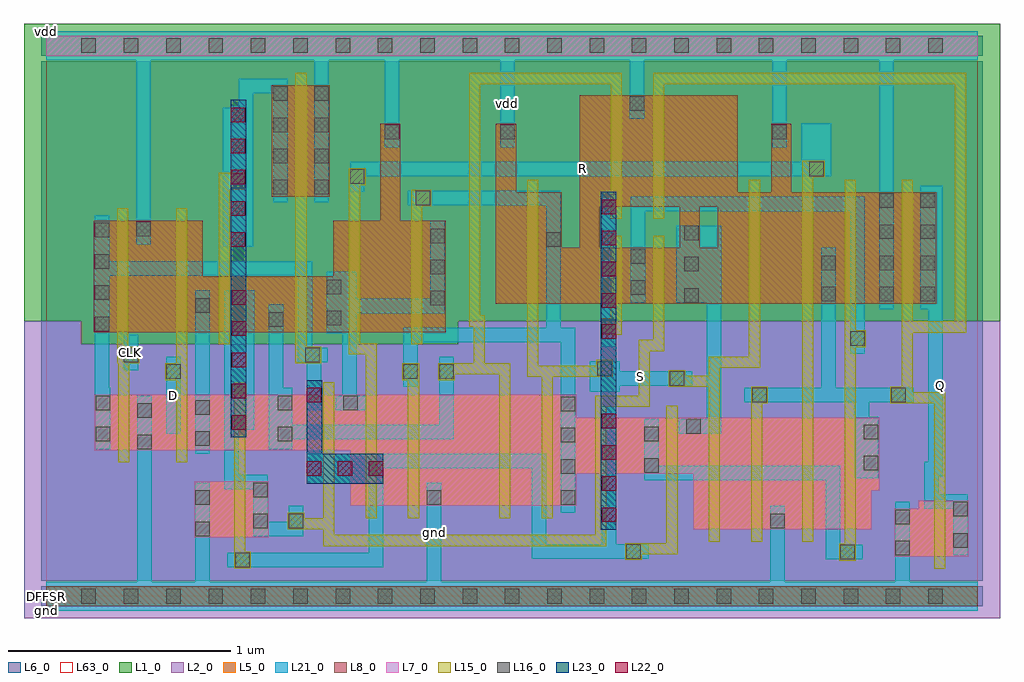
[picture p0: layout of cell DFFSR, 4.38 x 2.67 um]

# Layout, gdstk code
import gdstk
lib = gdstk.Library(unit=1e-6, precision=1e-09)
def R(c, l, rs):  # rectangles x0, y0, x1, y1
    for r in rs: c.add(gdstk.rectangle(r[:2], r[2:], *l))
def A(c, l, x, y, w, h, nx, ny, dx, dy):  # array of equal rectangles
    R(c, l, [(x+i*dx, y+j*dy, x+i*dx+w, y+j*dy+h) for i in range(nx) for j in range(ny)])
def P(c, l, *ps):  # polygons
    for p in ps: c.add(gdstk.Polygon(p, *l))
L1_0 = (1, 0)
L2_0 = (2, 0)
L5_0 = (5, 0)
L6_0 = (6, 0)
L7_0 = (7, 0)
L8_0 = (8, 0)
L15_0 = (15, 0)
L16_0 = (16, 0)
L21_0 = (21, 0)
L22_0 = (22, 0)
L23_0 = (23, 0)
L63_0 = (63, 0)

dffsr = lib.new_cell('DFFSR')
P(dffsr, L1_0, [(0.158,1.235),(-0.1,1.235),(-0.1,2.57),(4.28,2.57),(4.28,1.235),(1.848,1.235),(1.848,1.13),(0.158,1.13)])
P(dffsr, L2_0, [(-0.1,1.235),(0.158,1.235),(0.158,1.13),(1.848,1.13),(1.848,1.235),(4.28,1.235),(4.28,-0.1),(-0.1,-0.1)])
A(dffsr, L5_0, 0.323, 0.655, 0.05, 0.25, 3, 1, 0.26, 0)
R(dffsr, L5_0, [(0,-0.045,4.18,0.045), (3.985,0.178,4.035,0.428), (4.035,0.178,4.14,0.428), (0.663,0.265,0.843,0.515), (0.843,0.265,0.893,0.515), (0.893,0.265,0.998,0.515), (2.973,0.3,3.023,0.8), (3.023,0.3,3.163,0.8), (3.163,0.3,3.213,0.8), (3.213,0.3,3.393,0.8), (3.393,0.3,3.443,0.8), (3.443,0.3,3.583,0.8), (3.583,0.3,3.633,0.8), (1.433,0.405,1.483,0.905), (1.483,0.405,1.623,0.905), (1.623,0.405,1.673,0.905), (1.673,0.405,2.033,0.905), (2.033,0.405,2.083,0.905), (2.083,0.405,2.223,0.905), (2.223,0.405,2.273,0.905), (2.463,0.55,2.513,0.8), (2.513,0.55,2.783,0.8), (2.783,0.55,2.833,0.8), (0.218,0.655,0.323,0.905), (0.373,0.655,0.583,0.905), (0.633,0.655,0.843,0.905), (0.893,0.655,1.243,0.905), (1.243,0.655,1.293,0.905), (0.213,1.185,0.318,1.685), (0.318,1.185,0.368,1.685), (0.368,1.185,0.583,1.685), (0.583,1.185,0.633,1.685), (0.773,1.185,0.823,1.435), (0.823,1.185,1.118,1.435), (1.118,1.185,1.168,1.435), (1.358,1.185,1.408,1.685), (1.638,1.185,1.688,1.685), (1.688,1.185,1.793,1.685), (2.158,1.313,2.208,1.813), (2.533,1.313,2.583,1.563), (2.583,1.313,2.723,1.563), (2.723,1.313,2.773,1.563), (3.153,1.313,3.203,1.813), (3.393,1.313,3.443,1.813), (3.443,1.313,3.583,1.813), (3.583,1.313,3.633,1.813), (3.633,1.313,3.838,1.813), (3.838,1.313,3.888,1.813), (3.888,1.313,3.993,1.813), (2.533,1.748,2.583,2.248), (2.583,1.748,2.723,2.248), (2.723,1.748,2.773,2.248), (1.012,1.793,1.118,2.293), (1.118,1.793,1.168,2.293), (1.168,1.793,1.273,2.293), (0,2.425,4.18,2.515)])
P(dffsr, L5_0, [(1.433,0.905),(1.433,0.405),(1.363,0.405),(1.363,0.655),(1.293,0.655),(1.293,0.905)],
  [(2.378,0.8),(2.463,0.8),(2.463,0.55),(2.378,0.55),(2.378,0.405),(2.273,0.405),(2.273,0.905),(2.378,0.905)],
  [(2.973,0.8),(2.973,0.3),(2.903,0.3),(2.903,0.55),(2.833,0.55),(2.833,0.8)],
  [(3.738,0.8),(3.738,0.473),(3.703,0.473),(3.703,0.3),(3.633,0.3),(3.633,0.8)],
  [(3.805,0.178),(3.805,0.393),(3.915,0.393),(3.915,0.428),(3.985,0.428),(3.985,0.178)],
  [(0.703,1.685),(0.703,1.435),(0.773,1.435),(0.773,1.185),(0.633,1.185),(0.633,1.685)],
  [(1.288,1.435),(1.288,1.685),(1.358,1.685),(1.358,1.185),(1.168,1.185),(1.168,1.435)],
  [(1.408,1.185),(1.408,1.685),(1.498,1.685),(1.498,2.12),(1.588,2.12),(1.588,1.685),(1.638,1.685),(1.638,1.185)],
  [(2.313,1.563),(2.393,1.563),(2.393,2.248),(2.533,2.248),(2.533,1.748),(2.483,1.748),(2.483,1.563),(2.533,1.563),(2.533,1.313),(2.208,1.313),(2.208,1.813),(2.313,1.813)],
  [(2.108,2.12),(2.108,1.813),(2.158,1.813),(2.158,1.313),(2.018,1.313),(2.018,2.12)],
  [(3.013,1.313),(2.773,1.313),(2.773,1.563),(2.843,1.563),(2.843,1.748),(2.773,1.748),(2.773,2.248),(3.103,2.248),(3.103,1.813),(3.153,1.813),(3.153,1.313),(3.013,1.313),(3.013,1.748),(2.933,1.748),(2.933,1.563),(3.013,1.563)],
  [(3.203,1.313),(3.203,1.813),(3.253,1.813),(3.253,2.12),(3.343,2.12),(3.343,1.813),(3.393,1.813),(3.393,1.313)])
R(dffsr, L6_0, [(-0.023,-0.045,4.203,0.045), (-0.023,-0.045,4.203,0.045), (-0.023,2.425,4.203,2.515), (-0.023,2.425,4.203,2.515)])
P(dffsr, L6_0, [(0.158,1.235),(0.158,1.13),(1.848,1.13),(1.848,1.235),(4.203,1.235),(4.203,0.07),(-0.023,0.07),(-0.023,1.235)],
  [(-0.023,1.235),(-0.023,2.4),(4.203,2.4),(4.203,1.235),(1.848,1.235),(1.848,1.13),(0.158,1.13),(0.158,1.235)])
A(dffsr, L7_0, 0.323, 0.655, 0.05, 0.25, 3, 1, 0.26, 0)
R(dffsr, L7_0, [(3.985,0.178,4.035,0.428), (4.035,0.178,4.14,0.428), (0.663,0.265,0.843,0.515), (0.843,0.265,0.893,0.515), (0.893,0.265,0.998,0.515), (2.973,0.3,3.023,0.8), (3.023,0.3,3.163,0.8), (3.163,0.3,3.213,0.8), (3.213,0.3,3.393,0.8), (3.393,0.3,3.443,0.8), (3.443,0.3,3.583,0.8), (3.583,0.3,3.633,0.8), (1.433,0.405,1.483,0.905), (1.483,0.405,1.623,0.905), (1.623,0.405,1.673,0.905), (1.673,0.405,2.033,0.905), (2.033,0.405,2.083,0.905), (2.083,0.405,2.223,0.905), (2.223,0.405,2.273,0.905), (2.463,0.55,2.513,0.8), (2.513,0.55,2.783,0.8), (2.783,0.55,2.833,0.8), (0.218,0.655,0.323,0.905), (0.373,0.655,0.583,0.905), (0.633,0.655,0.843,0.905), (0.893,0.655,1.243,0.905), (1.243,0.655,1.293,0.905), (0,2.425,4.18,2.515)])
P(dffsr, L7_0, [(1.433,0.905),(1.433,0.405),(1.363,0.405),(1.363,0.655),(1.293,0.655),(1.293,0.905)],
  [(2.378,0.8),(2.463,0.8),(2.463,0.55),(2.378,0.55),(2.378,0.405),(2.273,0.405),(2.273,0.905),(2.378,0.905)],
  [(2.973,0.8),(2.973,0.3),(2.903,0.3),(2.903,0.55),(2.833,0.55),(2.833,0.8)],
  [(3.738,0.8),(3.738,0.473),(3.703,0.473),(3.703,0.3),(3.633,0.3),(3.633,0.8)],
  [(3.805,0.178),(3.805,0.393),(3.915,0.393),(3.915,0.428),(3.985,0.428),(3.985,0.178)])
R(dffsr, L8_0, [(0,-0.045,4.18,0.045), (0.213,1.185,0.318,1.685), (0.318,1.185,0.368,1.685), (0.368,1.185,0.583,1.685), (0.583,1.185,0.633,1.685), (0.773,1.185,0.823,1.435), (0.823,1.185,1.118,1.435), (1.118,1.185,1.168,1.435), (1.358,1.185,1.408,1.685), (1.638,1.185,1.688,1.685), (1.688,1.185,1.793,1.685), (2.158,1.313,2.208,1.813), (2.533,1.313,2.583,1.563), (2.583,1.313,2.723,1.563), (2.723,1.313,2.773,1.563), (3.153,1.313,3.203,1.813), (3.393,1.313,3.443,1.813), (3.443,1.313,3.583,1.813), (3.583,1.313,3.633,1.813), (3.633,1.313,3.838,1.813), (3.838,1.313,3.888,1.813), (3.888,1.313,3.993,1.813), (2.533,1.748,2.583,2.248), (2.583,1.748,2.723,2.248), (2.723,1.748,2.773,2.248), (1.012,1.793,1.118,2.293), (1.118,1.793,1.168,2.293), (1.168,1.793,1.273,2.293)])
P(dffsr, L8_0, [(0.703,1.685),(0.703,1.435),(0.773,1.435),(0.773,1.185),(0.633,1.185),(0.633,1.685)],
  [(1.288,1.435),(1.288,1.685),(1.358,1.685),(1.358,1.185),(1.168,1.185),(1.168,1.435)],
  [(1.408,1.185),(1.408,1.685),(1.498,1.685),(1.498,2.12),(1.588,2.12),(1.588,1.685),(1.638,1.685),(1.638,1.185)],
  [(2.313,1.563),(2.393,1.563),(2.393,2.248),(2.533,2.248),(2.533,1.748),(2.483,1.748),(2.483,1.563),(2.533,1.563),(2.533,1.313),(2.208,1.313),(2.208,1.813),(2.313,1.813)],
  [(2.108,2.12),(2.108,1.813),(2.158,1.813),(2.158,1.313),(2.018,1.313),(2.018,2.12)],
  [(3.013,1.313),(2.773,1.313),(2.773,1.563),(2.843,1.563),(2.843,1.748),(2.773,1.748),(2.773,2.248),(3.103,2.248),(3.103,1.813),(3.153,1.813),(3.153,1.313),(3.013,1.313),(3.013,1.748),(2.933,1.748),(2.933,1.563),(3.013,1.563)],
  [(3.203,1.313),(3.203,1.813),(3.253,1.813),(3.253,2.12),(3.343,2.12),(3.343,1.813),(3.393,1.813),(3.393,1.313)])
A(dffsr, L15_0, 0.323, 0.655, 0.05, 0.25, 3, 1, 0.26, 0)
R(dffsr, L15_0, [(3.985,0.123,4.035,0.178), (3.985,0.178,4.035,0.428), (2.973,0.245,3.023,0.3), (3.163,0.245,3.213,0.3), (3.393,0.245,3.443,0.3), (0.843,0.265,0.893,0.515), (2.973,0.3,3.023,0.8), (3.163,0.3,3.213,0.8), (3.393,0.3,3.443,0.8), (3.583,0.3,3.633,0.8), (1.433,0.35,1.483,0.405), (1.623,0.35,1.673,0.405), (2.033,0.35,2.083,0.405), (2.223,0.35,2.273,0.405), (1.433,0.405,1.483,0.905), (1.623,0.405,1.673,0.905), (2.033,0.405,2.083,0.905), (2.223,0.405,2.273,0.905), (0.843,0.515,0.893,0.655), (2.463,0.55,2.513,0.8), (2.783,0.55,2.833,0.8), (0.323,0.6,0.373,0.655), (0.583,0.6,0.633,0.655), (1.243,0.655,1.293,0.905), (2.783,0.8,2.833,0.855), (3.393,0.8,3.443,1.313), (0.843,0.905,0.893,0.96), (1.243,0.905,1.293,0.96), (0.773,1.13,0.823,1.185), (1.638,1.13,1.688,1.185), (0.318,1.185,0.368,1.685), (0.583,1.185,0.633,1.685), (0.773,1.185,0.823,1.435), (1.118,1.185,1.168,1.435), (1.358,1.185,1.408,1.685), (1.638,1.185,1.688,1.685), (2.158,1.313,2.208,1.813), (2.533,1.313,2.583,1.563), (2.723,1.313,2.773,1.563), (3.153,1.313,3.203,1.813), (3.393,1.313,3.443,1.813), (3.583,1.313,3.633,1.813), (3.838,1.313,3.888,1.813), (1.118,1.435,1.168,1.793), (2.533,1.563,2.583,1.618), (2.723,1.563,2.773,1.618), (0.318,1.685,0.368,1.74), (0.583,1.685,0.633,1.74), (2.533,1.693,2.583,1.748), (2.723,1.693,2.773,1.748), (2.533,1.748,2.583,2.248), (2.723,1.748,2.773,2.248), (1.118,1.793,1.168,2.293), (2.158,1.813,2.208,1.868), (3.153,1.813,3.203,1.868), (3.583,1.813,3.633,1.868), (3.838,1.813,3.888,1.868), (1.118,2.293,1.168,2.348)])
P(dffsr, L15_0, [(0.323,1.045),(0.318,1.045),(0.318,1.185),(0.368,1.185),(0.368,1.12),(0.418,1.12),(0.418,1.045),(0.373,1.045),(0.373,0.905),(0.323,0.905)],
  [(0.583,0.97),(0.533,0.97),(0.533,1.045),(0.583,1.045),(0.583,1.185),(0.633,1.185),(0.633,0.905),(0.583,0.905)],
  [(0.893,0.2),(0.918,0.2),(0.918,0.125),(0.843,0.125),(0.843,0.265),(0.893,0.265)],
  [(0.773,1.9),(0.898,1.9),(0.898,1.825),(0.823,1.825),(0.823,1.435),(0.773,1.435)],
  [(1.243,0.35),(1.243,0.655),(1.293,0.655),(1.293,0.275),(2.463,0.275),(2.463,0.55),(2.513,0.55),(2.513,0.225),(1.243,0.225),(1.243,0.3),(1.083,0.3),(1.083,0.375),(1.158,0.375),(1.158,0.35)],
  [(1.168,1.12),(1.233,1.12),(1.233,1.045),(1.118,1.045),(1.118,1.185),(1.168,1.185)],
  [(1.433,1.085),(1.358,1.085),(1.358,1.185),(1.408,1.185),(1.408,1.135),(1.483,1.135),(1.483,0.905),(1.433,0.905)],
  [(1.358,1.92),(1.433,1.92),(1.433,1.845),(1.408,1.845),(1.408,1.685),(1.358,1.685)],
  [(1.623,0.97),(1.598,0.97),(1.598,1.045),(1.673,1.045),(1.673,0.905),(1.623,0.905)],
  [(1.638,1.825),(1.728,1.825),(1.728,1.75),(1.688,1.75),(1.688,1.685),(1.638,1.685)],
  [(2.033,0.995),(1.833,0.995),(1.833,0.97),(1.758,0.97),(1.758,1.045),(1.918,1.045),(1.918,1.21),(1.898,1.21),(1.898,2.348),(2.583,2.348),(2.583,2.248),(2.533,2.248),(2.533,2.298),(1.948,2.298),(1.948,1.26),(1.968,1.26),(1.968,1.045),(2.083,1.045),(2.083,0.905),(2.033,0.905)],
  [(2.223,0.985),(2.158,0.985),(2.158,1.313),(2.208,1.313),(2.208,1.035),(2.468,1.035),(2.468,1.06),(2.543,1.06),(2.543,0.985),(2.273,0.985),(2.273,0.905),(2.223,0.905)],
  [(2.463,0.9),(2.658,0.9),(2.658,1.15),(2.723,1.15),(2.723,1.313),(2.773,1.313),(2.773,1.1),(2.708,1.1),(2.708,0.85),(2.513,0.85),(2.513,0.8),(2.463,0.8)],
  [(2.533,1.248),(2.533,1.313),(2.583,1.313),(2.583,1.173),(2.488,1.173),(2.488,1.248)],
  [(2.783,0.238),(2.783,0.55),(2.833,0.55),(2.833,0.188),(2.673,0.188),(2.673,0.163),(2.598,0.163),(2.598,0.238)],
  [(2.723,2.348),(4.128,2.348),(4.128,1.183),(3.888,1.183),(3.888,0.915),(4.035,0.915),(4.035,0.428),(3.985,0.428),(3.985,0.865),(3.788,0.865),(3.788,0.94),(3.838,0.94),(3.838,1.313),(3.888,1.313),(3.888,1.233),(4.077,1.233),(4.077,2.298),(2.773,2.298),(2.773,2.248),(2.723,2.248)],
  [(2.973,0.94),(2.793,0.94),(2.793,1.015),(2.868,1.015),(2.868,0.99),(2.973,0.99),(2.973,1.075),(3.153,1.075),(3.153,1.313),(3.203,1.313),(3.203,1.025),(3.023,1.025),(3.023,0.8),(2.973,0.8)],
  [(3.163,0.94),(3.238,0.94),(3.238,0.865),(3.213,0.865),(3.213,0.8),(3.163,0.8)],
  [(3.393,1.955),(3.493,1.955),(3.493,1.88),(3.443,1.88),(3.443,1.813),(3.393,1.813)],
  [(3.583,1.313),(3.633,1.313),(3.633,1.193),(3.678,1.193),(3.678,1.118),(3.633,1.118),(3.633,0.8),(3.583,0.8)],
  [(3.583,0.235),(3.583,0.3),(3.633,0.3),(3.633,0.16),(3.558,0.16),(3.558,0.235)])
A(dffsr, L16_0, 0.158, -0.033, 0.065, 0.066, 21, 1, 0.19, 0)
A(dffsr, L16_0, 2.308, 0.41, 0.065, 0.065, 1, 4, 0, 0.14)
A(dffsr, L16_0, 0.218, 1.19, 0.065, 0.065, 1, 4, 0, 0.14)
A(dffsr, L16_0, 1.723, 1.305, 0.065, 0.065, 1, 3, 0, 0.14)
A(dffsr, L16_0, 2.863, 1.318, 0.065, 0.065, 1, 3, 0, 0.14)
A(dffsr, L16_0, 3.738, 1.323, 0.065, 0.065, 1, 4, 0, 0.14)
A(dffsr, L16_0, 3.923, 1.323, 0.065, 0.065, 1, 4, 0, 0.14)
A(dffsr, L16_0, 0.158, 2.438, 0.065, 0.065, 21, 1, 0.19, 0)
R(dffsr, L16_0, [(0.848,0.13,0.913,0.195), (3.563,0.165,3.628,0.23), (2.603,0.168,2.668,0.233), (3.81,0.183,3.875,0.248), (4.07,0.218,4.135,0.283), (0.668,0.27,0.733,0.335), (0.928,0.305,0.993,0.37), (1.088,0.305,1.153,0.37), (3.248,0.305,3.313,0.37), (3.81,0.323,3.875,0.388), (4.07,0.358,4.135,0.423), (0.668,0.41,0.733,0.475), (1.708,0.41,1.773,0.475), (0.928,0.445,0.993,0.51), (2.683,0.555,2.748,0.62), (3.668,0.565,3.733,0.63), (0.408,0.66,0.473,0.725), (0.668,0.675,0.733,0.74), (0.223,0.695,0.288,0.76), (1.038,0.695,1.103,0.76), (2.683,0.695,2.748,0.76), (3.668,0.705,3.733,0.77), (2.873,0.73,2.938,0.795), (0.408,0.8,0.473,0.865), (0.668,0.815,0.733,0.88), (0.223,0.835,0.288,0.9), (1.038,0.835,1.103,0.9), (1.333,0.835,1.398,0.9), (3.168,0.87,3.233,0.935), (3.793,0.87,3.858,0.935), (2.798,0.945,2.863,1.01), (0.538,0.975,0.603,1.04), (1.603,0.975,1.668,1.04), (1.763,0.975,1.828,1.04), (2.473,0.99,2.538,1.055), (0.348,1.05,0.413,1.115), (1.163,1.05,1.228,1.115), (3.608,1.123,3.673,1.188), (2.493,1.178,2.558,1.243), (0.998,1.21,1.063,1.275), (1.258,1.215,1.323,1.28), (0.668,1.273,0.733,1.338), (3.478,1.323,3.543,1.388), (2.623,1.353,2.688,1.418), (1.258,1.355,1.323,1.42), (3.478,1.463,3.543,1.528), (2.623,1.493,2.688,1.558), (2.243,1.568,2.308,1.633), (0.403,1.615,0.468,1.68), (1.658,1.755,1.723,1.82), (1.018,1.803,1.083,1.868), (1.203,1.803,1.268,1.868), (0.828,1.83,0.893,1.895), (1.363,1.85,1.428,1.915), (3.423,1.885,3.488,1.95), (1.018,1.943,1.083,2.007), (1.203,1.943,1.268,2.007), (1.518,2.05,1.583,2.115), (2.038,2.05,2.103,2.115), (3.258,2.05,3.323,2.115), (1.018,2.083,1.083,2.148), (1.203,2.083,1.268,2.148), (2.618,2.178,2.683,2.243), (1.018,2.223,1.083,2.288), (1.203,2.223,1.268,2.288)])
R(dffsr, L21_0, [(0.668,0.64,0.733,1.373), (0.538,0.728,0.603,1.075), (0.348,1.015,0.413,1.173), (2.493,1.12,2.558,1.815)])
P(dffsr, L21_0, [(0,2.405),(0,2.535),(4.18,2.535),(4.18,2.405),(3.803,2.405),(3.803,1.288),(3.738,1.288),(3.738,2.405),(3.323,2.405),(3.323,2.015),(3.258,2.015),(3.258,2.405),(2.683,2.405),(2.683,2.143),(2.618,2.143),(2.618,2.405),(2.103,2.405),(2.103,2.015),(2.038,2.015),(2.038,2.405),(1.583,2.405),(1.583,2.015),(1.518,2.015),(1.518,2.405),(1.268,2.405),(1.268,1.768),(1.203,1.768),(1.203,2.405),(0.468,2.405),(0.468,1.58),(0.403,1.58),(0.403,2.405)],
  [(0,-0.065),(0,0.065),(0.408,0.065),(0.408,0.9),(0.473,0.9),(0.473,0.065),(0.668,0.065),(0.668,0.51),(0.733,0.51),(0.733,0.065),(1.708,0.065),(1.708,0.51),(1.773,0.51),(1.773,0.065),(3.248,0.065),(3.248,0.405),(3.313,0.405),(3.313,0.065),(3.81,0.065),(3.81,0.423),(3.875,0.423),(3.875,0.065),(4.18,0.065),(4.18,-0.065)],
  [(3.388,1.95),(3.388,2.123),(3.523,2.123),(3.523,1.885),(1.428,1.885),(1.428,1.815),(1.363,1.815),(1.363,1.95)],
  [(2.308,1.82),(2.308,1.205),(2.373,1.205),(2.373,0.375),(2.308,0.375),(2.308,1.14),(1.668,1.14),(1.668,0.94),(1.603,0.94),(1.603,1.205),(2.243,1.205),(2.243,1.755),(1.623,1.755),(1.623,1.82)],
  [(1.763,0.77),(1.763,1.075),(1.828,1.075),(1.828,0.705),(1.103,0.705),(1.103,0.66),(0.998,0.66),(0.998,1.31),(1.063,1.31),(1.063,0.935),(1.103,0.935),(1.103,0.77)],
  [(2.438,0.918),(2.438,1.055),(2.573,1.055),(2.573,1.01),(2.898,1.01),(2.898,0.945),(2.573,0.945),(2.573,0.918)],
  [(2.493,0.233),(2.493,0.853),(2.558,0.853),(2.558,0.233),(2.703,0.233),(2.703,0.168),(2.178,0.168),(2.178,0.575),(1.513,0.575),(1.513,0.13),(0.813,0.13),(0.813,0.195),(1.448,0.195),(1.448,0.505),(1.168,0.505),(1.168,0.64),(2.243,0.64),(2.243,0.233)],
  [(1.128,1.438),(0.283,1.438),(0.283,0.935),(0.288,0.935),(0.288,0.66),(0.218,0.66),(0.218,1.71),(0.283,1.71),(0.283,1.503),(1.193,1.503),(1.193,1.115),(1.263,1.115),(1.263,1.05),(1.233,1.05),(1.233,0.835),(1.168,0.835),(1.168,1.05),(1.128,1.05)],
  [(0.993,0.335),(1.088,0.335),(1.088,0.405),(1.153,0.405),(1.153,0.27),(0.928,0.27),(0.928,0.48),(0.798,0.48),(0.798,1.373),(0.933,1.373),(0.933,0.748),(0.863,0.748),(0.863,0.545),(0.993,0.545)],
  [(0.793,1.568),(0.793,2.193),(0.863,2.193),(0.863,2.323),(1.083,2.323),(1.083,1.768),(1.018,1.768),(1.018,2.258),(0.928,2.258),(0.928,1.568)],
  [(3.498,0.52),(2.683,0.52),(2.683,0.795),(2.748,0.795),(2.748,0.585),(3.563,0.585),(3.563,0.23),(3.663,0.23),(3.663,0.165),(3.498,0.165)],
  [(3.608,1.728),(2.688,1.728),(2.688,1.318),(2.623,1.318),(2.623,1.793),(3.673,1.793),(3.673,1.088),(3.608,1.088)],
  [(3.478,0.935),(3.478,1.563),(3.543,1.563),(3.543,0.935),(3.893,0.935),(3.893,0.87),(3.693,0.87),(3.693,0.805),(3.733,0.805),(3.733,0.53),(3.628,0.53),(3.628,0.87),(3.133,0.87),(3.133,0.935)],
  [(4.005,0.538),(4.005,0.458),(4.135,0.458),(4.135,0.183),(4.07,0.183),(4.07,0.393),(3.94,0.393),(3.94,0.603),(3.958,0.603),(3.958,1.288),(3.923,1.288),(3.923,1.843),(4.023,1.843),(4.023,0.538)],
  [(1.258,1.18),(1.258,1.455),(1.393,1.455),(1.393,1.335),(1.723,1.335),(1.723,1.685),(1.788,1.685),(1.788,1.27),(1.393,1.27),(1.393,0.9),(1.433,0.9),(1.433,0.835),(1.298,0.835),(1.298,0.9),(1.328,0.9),(1.328,1.18)],
  [(2.828,1.318),(2.828,1.663),(3.028,1.663),(3.028,0.73),(2.838,0.73),(2.838,0.795),(2.963,0.795),(2.963,1.318)])
A(dffsr, L22_0, 2.493, 0.333, 0.065, 0.065, 1, 4, 0, 0.14)
A(dffsr, L22_0, 1.168, 0.54, 0.065, 0.065, 3, 1, 0.14, 0)
A(dffsr, L22_0, 0.833, 0.748, 0.065, 0.065, 1, 5, 0, 0.14)
A(dffsr, L22_0, 2.493, 1.155, 0.065, 0.065, 1, 5, 0, 0.14)
A(dffsr, L22_0, 0.828, 1.568, 0.065, 0.065, 1, 5, 0, 0.14)
R(dffsr, L22_0, [(1.168,0.87,1.233,0.935)])
R(dffsr, L23_0, [(2.488,0.298,2.558,1.815), (0.828,0.713,0.898,2.228)])
P(dffsr, L23_0, [(1.168,0.97),(1.238,0.97),(1.238,0.64),(1.513,0.64),(1.513,0.505),(1.168,0.505)])
R(dffsr, L63_0, [(0,0,4.18,2.47)])
dffsr.add(gdstk.Label('vdd', (2.07,2.21), layer=21, texttype=1))
dffsr.add(gdstk.Label('gnd', (1.74,0.288), layer=21, texttype=1))
dffsr.add(gdstk.Label('R', (2.408,1.918), layer=21, texttype=1))
dffsr.add(gdstk.Label('S', (2.668,0.986), layer=21, texttype=1))
dffsr.add(gdstk.Label('D', (0.57,0.901), layer=21, texttype=1))
dffsr.add(gdstk.Label('CLK', (0.38,1.094), layer=21, texttype=1))
dffsr.add(gdstk.Label('Q', (4.014,0.945), layer=21, texttype=1))
dffsr.add(gdstk.Label('vdd', (0,2.535), layer=21, texttype=2))
dffsr.add(gdstk.Label('gnd', (0,-0.065), layer=21, texttype=2))
dffsr.add(gdstk.Label('DFFSR', (0,0), layer=63, texttype=1))

lib.write_gds('DFFSR.gds')
